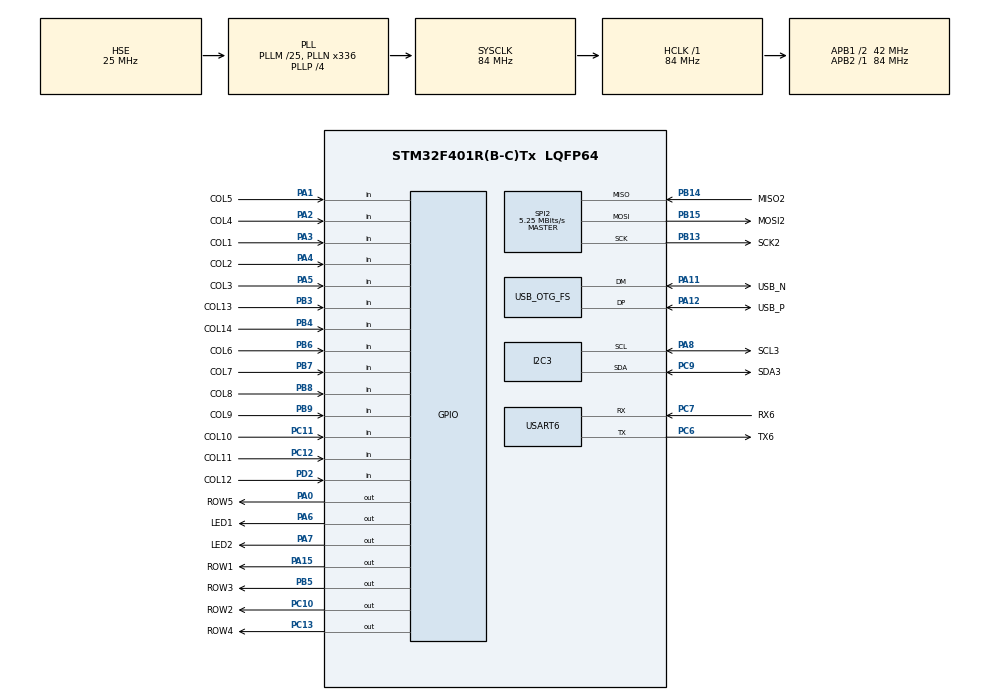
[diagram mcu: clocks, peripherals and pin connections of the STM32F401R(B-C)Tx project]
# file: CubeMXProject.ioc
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ADC1.Channel-0\#ChannelRegularConversion=ADC_CHANNEL_TEMPSENSOR
ADC1.NbrOfConversionFlag=1
ADC1.Rank-0\#ChannelRegularConversion=1
ADC1.SamplingTime-0\#ChannelRegularConversion=ADC_SAMPLETIME_3CYCLES
ADC1.master=1
Dma.Request0=SPI2_TX
Dma.SPI2_TX.0.Direction=DMA_MEMORY_TO_PERIPH
Dma.SPI2_TX.0.FIFOMode=DMA_FIFOMODE_DISABLE
Dma.SPI2_TX.0.Instance=DMA1_Stream4
Dma.SPI2_TX.0.MemDataAlignment=DMA_MDATAALIGN_BYTE
Dma.SPI2_TX.0.MemInc=DMA_MINC_ENABLE
Dma.SPI2_TX.0.Mode=DMA_NORMAL
Dma.SPI2_TX.0.PeriphDataAlignment=DMA_PDATAALIGN_BYTE
Dma.SPI2_TX.0.PeriphInc=DMA_PINC_DISABLE
Dma.SPI2_TX.0.Priority=DMA_PRIORITY_LOW
FREERTOS.Tasks01=defaultTask,24,128,StartDefaultTask,Default,NULL,Dynamic,NULL,NULL
Mcu.Family=STM32F4
Mcu.Name=STM32F401R(B-C)Tx
Mcu.Package=LQFP64
NVIC.DMA1_Stream4_IRQn=true\:5\:0\:false\:false\:true\:true\:false\:true\:true
NVIC.OTG_FS_IRQn=true\:5\:0\:false\:false\:true\:true\:false\:true\:true
NVIC.PriorityGroup=NVIC_PRIORITYGROUP_4
NVIC.TIM1_UP_TIM10_IRQn=true\:15\:0\:false\:false\:true\:false\:false\:true\:true
NVIC.TimeBase=TIM1_UP_TIM10_IRQn
NVIC.TimeBaseIP=TIM1
PA0-WKUP.GPIO_Label=ROW5
PA0-WKUP.GPIO_Speed=GPIO_SPEED_FREQ_VERY_HIGH
PA0-WKUP.PinState=GPIO_PIN_SET
PA0-WKUP.Signal=GPIO_Output
PA1.GPIO_Label=COL5
PA1.GPIO_PuPd=GPIO_PULLUP
PA1.Signal=GPIO_Input
PA11.GPIO_Label=USB_N
PA11.Mode=Device_Only
PA11.Signal=USB_OTG_FS_DM
PA12.GPIO_Label=USB_P
PA12.Mode=Device_Only
PA12.Signal=USB_OTG_FS_DP
PA13.GPIO_Label=SWDIO
PA13.Mode=Serial_Wire
PA13.Signal=SYS_JTMS-SWDIO
PA14.GPIO_Label=SWDCLK
PA14.Mode=Serial_Wire
PA14.Signal=SYS_JTCK-SWCLK
PA15.GPIO_Label=ROW1
PA15.GPIO_ModeDefaultOutputPP=GPIO_MODE_OUTPUT_PP
PA15.GPIO_PuPd=GPIO_NOPULL
PA15.GPIO_Speed=GPIO_SPEED_FREQ_VERY_HIGH
PA15.PinState=GPIO_PIN_SET
PA15.Signal=GPIO_Output
PA2.GPIO_Label=COL4
PA2.GPIO_PuPd=GPIO_PULLUP
PA2.Signal=GPIO_Input
PA3.GPIO_Label=COL1
PA3.GPIO_PuPd=GPIO_PULLUP
PA3.Signal=GPIO_Input
PA4.GPIO_Label=COL2
PA4.GPIO_PuPd=GPIO_PULLUP
PA4.Signal=GPIO_Input
PA5.GPIO_Label=COL3
PA5.GPIO_PuPd=GPIO_PULLUP
PA5.Signal=GPIO_Input
PA6.GPIO_Label=LED1
PA6.GPIO_ModeDefaultOutputPP=GPIO_MODE_OUTPUT_OD
PA6.GPIO_PuPd=GPIO_PULLUP
PA6.GPIO_Speed=GPIO_SPEED_FREQ_LOW
PA6.PinState=GPIO_PIN_SET
PA6.Signal=GPIO_Output
PA7.GPIO_Label=LED2
PA7.GPIO_ModeDefaultOutputPP=GPIO_MODE_OUTPUT_OD
PA7.GPIO_PuPd=GPIO_PULLUP
PA7.GPIO_Speed=GPIO_SPEED_FREQ_LOW
PA7.PinState=GPIO_PIN_SET
PA7.Signal=GPIO_Output
PA8.GPIO_Label=SCL3
PA8.Mode=I2C
PA8.Signal=I2C3_SCL
PB13.GPIO_Label=SCK2
PB13.Mode=Full_Duplex_Master
PB13.Signal=SPI2_SCK
PB14.GPIO_Label=MISO2
PB14.Mode=Full_Duplex_Master
PB14.Signal=SPI2_MISO
PB15.GPIO_Label=MOSI2
PB15.Mode=Full_Duplex_Master
PB15.Signal=SPI2_MOSI
PB3.GPIO_Label=COL13
PB3.GPIO_PuPd=GPIO_PULLUP
PB3.Signal=GPIO_Input
PB4.GPIO_Label=COL14
PB4.GPIO_PuPd=GPIO_PULLUP
PB4.Signal=GPIO_Input
PB5.GPIO_Label=ROW3
PB5.GPIO_PuPd=GPIO_NOPULL
PB5.GPIO_Speed=GPIO_SPEED_FREQ_VERY_HIGH
PB5.PinState=GPIO_PIN_SET
PB5.Signal=GPIO_Output
PB6.GPIO_Label=COL6
PB6.GPIO_PuPd=GPIO_PULLUP
PB6.Signal=GPIO_Input
PB7.GPIO_Label=COL7
PB7.GPIO_PuPd=GPIO_PULLUP
PB7.Signal=GPIO_Input
PB8.GPIO_Label=COL8
PB8.GPIO_PuPd=GPIO_PULLUP
PB8.Signal=GPIO_Input
PB9.GPIO_Label=COL9
PB9.GPIO_PuPd=GPIO_PULLUP
PB9.Signal=GPIO_Input
PC10.GPIO_Label=ROW2
PC10.GPIO_ModeDefaultOutputPP=GPIO_MODE_OUTPUT_PP
PC10.GPIO_PuPd=GPIO_PULLUP
PC10.GPIO_Speed=GPIO_SPEED_FREQ_VERY_HIGH
PC10.PinState=GPIO_PIN_SET
PC10.Signal=GPIO_Output
PC11.GPIO_Label=COL10
PC11.GPIO_PuPd=GPIO_PULLUP
PC11.Signal=GPIO_Input
PC12.GPIO_Label=COL11
PC12.GPIO_PuPd=GPIO_PULLUP
PC12.Signal=GPIO_Input
PC13-ANTI_TAMP.GPIO_Label=ROW4
PC13-ANTI_TAMP.GPIO_ModeDefaultOutputPP=GPIO_MODE_OUTPUT_PP
PC13-ANTI_TAMP.GPIO_PuPd=GPIO_PULLUP
PC13-ANTI_TAMP.GPIO_Speed=GPIO_SPEED_FREQ_LOW
PC13-ANTI_TAMP.PinState=GPIO_PIN_SET
PC13-ANTI_TAMP.Signal=GPIO_Output
PC6.GPIO_Label=TX6
PC6.Mode=Asynchronous
PC6.Signal=USART6_TX
PC7.GPIO_Label=RX6
PC7.Mode=Asynchronous
PC7.Signal=USART6_RX
PC9.GPIO_Label=SDA3
PC9.Mode=I2C
PC9.Signal=I2C3_SDA
PD2.GPIO_Label=COL12
PD2.GPIO_PuPd=GPIO_PULLUP
PD2.Signal=GPIO_Input
PH0\ -\ OSC_IN.Mode=HSE-External-Oscillator
PH0\ -\ OSC_IN.Signal=RCC_OSC_IN
PH1\ -\ OSC_OUT.Mode=HSE-External-Oscillator
PH1\ -\ OSC_OUT.Signal=RCC_OSC_OUT
ProjectManager.HeapSize=0x200
ProjectManager.StackSize=0x400
ProjectManager.TargetToolchain=MDK-ARM V5.32
RCC.48MHZClocksFreq_Value=48000000
RCC.AHBFreq_Value=84000000
RCC.APB1CLKDivider=RCC_HCLK_DIV2
RCC.APB1Freq_Value=42000000
RCC.APB1TimFreq_Value=84000000
RCC.APB2Freq_Value=84000000
RCC.APB2TimFreq_Value=84000000
RCC.CortexFreq_Value=84000000
RCC.HCLKFreq_Value=84000000
RCC.HSE_VALUE=25000000
RCC.HSI_VALUE=16000000
RCC.LSE_VALUE=32768
RCC.PLLM=25
RCC.PLLN=336
RCC.PLLP=RCC_PLLP_DIV4
RCC.PLLQ=7
RCC.SYSCLKFreq_VALUE=84000000
RCC.SYSCLKSource=RCC_SYSCLKSOURCE_PLLCLK
RCC.VCOOutputFreq_Value=336000000
SPI2.BaudRatePrescaler=SPI_BAUDRATEPRESCALER_8
SPI2.CLKPhase=SPI_PHASE_2EDGE
SPI2.CLKPolarity=SPI_POLARITY_HIGH
SPI2.CalculateBaudRate=5.25 MBits/s
SPI2.DataSize=SPI_DATASIZE_8BIT
SPI2.Direction=SPI_DIRECTION_2LINES
SPI2.Mode=SPI_MODE_MASTER
SPI2.TIMode=SPI_TIMODE_DISABLE
SPI2.VirtualType=VM_MASTER
USART6.VirtualMode=VM_ASYNC
USB_DEVICE.CLASS_NAME_FS=CUSTOM_HID
USB_DEVICE.VirtualMode=CustomHid
USB_DEVICE.VirtualModeFS=Custom_Hid_FS
USB_OTG_FS.VirtualMode=Device_Only
VP_ADC1_TempSens_Input.Mode=IN-TempSens
VP_CRC_VS_CRC.Mode=CRC_Activate
VP_FREERTOS_VS_CMSIS_V2.Mode=CMSIS_V2
VP_SYS_VS_tim1.Mode=TIM1
VP_USB_DEVICE_VS_USB_DEVICE_CUSTOM_HID_FS.Mode=CUSTOM_HID_FS
board=custom

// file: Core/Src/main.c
/* USER CODE BEGIN Header */
/**
  ******************************************************************************
  * @file           : main.c
  * @brief          : Main program body
  ******************************************************************************
  * @attention
  *
  * Copyright (c) 2023 STMicroelectronics.
  * All rights reserved.
  *
  * This software is licensed under terms that can be found in the LICENSE file
  * in the root directory of this software component.
  * If no LICENSE file comes with this software, it is provided AS-IS.
  *
  ******************************************************************************
  */
/* USER CODE END Header */
#include "main.h"
#include "cmsis_os.h"
#include "adc.h"
#include "crc.h"
#include "dma.h"
#include "i2c.h"
#include "spi.h"
#include "usart.h"
#include "usb_device.h"
#include "gpio.h"

void SystemClock_Config(void);
void MX_FREERTOS_Init(void);

int main(void)
{

  /* MCU Configuration--------------------------------------------------------*/

  /* Reset of all peripherals, Initializes the Flash interface and the Systick. */
  HAL_Init();

  /* Configure the system clock */
  SystemClock_Config();

  /* Initialize all configured peripherals */
  MX_GPIO_Init();
  MX_DMA_Init();
  MX_ADC1_Init();
  MX_CRC_Init();
  MX_I2C3_Init();
  MX_SPI2_Init();
  MX_USART6_UART_Init();

  /* Init scheduler */
  osKernelInitialize();  /* Call init function for freertos objects (in freertos.c) */
  MX_FREERTOS_Init();

  /* Start scheduler */
  osKernelStart();

  /* We should never get here as control is now taken by the scheduler */
  /* Infinite loop */
  while (1)
  {

  }
}

void SystemClock_Config(void)
{
  RCC_OscInitTypeDef RCC_OscInitStruct = {0};
  RCC_ClkInitTypeDef RCC_ClkInitStruct = {0};

  /** Configure the main internal regulator output voltage
  */
  __HAL_RCC_PWR_CLK_ENABLE();
  __HAL_PWR_VOLTAGESCALING_CONFIG(PWR_REGULATOR_VOLTAGE_SCALE2);

  /** Initializes the RCC Oscillators according to the specified parameters
  * in the RCC_OscInitTypeDef structure.
  */
  RCC_OscInitStruct.OscillatorType = RCC_OSCILLATORTYPE_HSE;
  RCC_OscInitStruct.HSEState = RCC_HSE_ON;
  RCC_OscInitStruct.PLL.PLLState = RCC_PLL_ON;
  RCC_OscInitStruct.PLL.PLLSource = RCC_PLLSOURCE_HSE;
  RCC_OscInitStruct.PLL.PLLM = 25;
  RCC_OscInitStruct.PLL.PLLN = 336;
  RCC_OscInitStruct.PLL.PLLP = RCC_PLLP_DIV4;
  RCC_OscInitStruct.PLL.PLLQ = 7;
  if (HAL_RCC_OscConfig(&RCC_OscInitStruct) != HAL_OK)
  {
    Error_Handler();
  }

  /** Initializes the CPU, AHB and APB buses clocks
  */
  RCC_ClkInitStruct.ClockType = RCC_CLOCKTYPE_HCLK|RCC_CLOCKTYPE_SYSCLK
                              |RCC_CLOCKTYPE_PCLK1|RCC_CLOCKTYPE_PCLK2;
  RCC_ClkInitStruct.SYSCLKSource = RCC_SYSCLKSOURCE_PLLCLK;
  RCC_ClkInitStruct.AHBCLKDivider = RCC_SYSCLK_DIV1;
  RCC_ClkInitStruct.APB1CLKDivider = RCC_HCLK_DIV2;
  RCC_ClkInitStruct.APB2CLKDivider = RCC_HCLK_DIV1;

  if (HAL_RCC_ClockConfig(&RCC_ClkInitStruct, FLASH_LATENCY_2) != HAL_OK)
  {
    Error_Handler();
  }
}

void HAL_TIM_PeriodElapsedCallback(TIM_HandleTypeDef *htim)
{
  if (htim->Instance == TIM1) {
    HAL_IncTick();
  }
}

void Error_Handler(void)
{
  __disable_irq();
  while (1)
  {
  }
}

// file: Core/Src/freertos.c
/* USER CODE BEGIN Header */
/**
  ******************************************************************************
  * File Name          : freertos.c
  * Description        : Code for freertos applications
  ******************************************************************************
  * @attention
  *
  * Copyright (c) 2023 STMicroelectronics.
  * All rights reserved.
  *
  * This software is licensed under terms that can be found in the LICENSE file
  * in the root directory of this software component.
  * If no LICENSE file comes with this software, it is provided AS-IS.
  *
  ******************************************************************************
  */
/* USER CODE END Header */

#include "FreeRTOS.h"
#include "task.h"
#include "main.h"
#include "cmsis_os.h"

/* USER CODE BEGIN Includes */
#include "KeyScan.h"
#include "KeyValue.h"
#include "Layout.h"
#include "usbd_customhid.h"
#include "usb_device.h"
/* USER CODE END Includes */

/* USER CODE BEGIN Variables */
extern USBD_HandleTypeDef hUsbDeviceFS;

static uint8_t KeyHidReport[KeyHidReportLen] = {0};

osThreadId_t LED_TaskHandle;
const osThreadAttr_t LED_Task_attributes = {
  .name = "Led_Task",
  .stack_size = 64*4,
  .priority = (osPriority_t) osPriorityLow7,
};

osThreadId_t KeyScan_TaskHandle;
const osThreadAttr_t KeyScan_Task_attributes = {
  .name = "KeyScan_Task",
  //! .stack_size = 768*4,
  .stack_size = 128*4,
  .priority = (osPriority_t) osPriorityAboveNormal1,
};

/* USER CODE END Variables */
/* Definitions for defaultTask */
osThreadId_t USBHidTaskHandle;
const osThreadAttr_t USBHidTask_attributes = {
  .name = "USBHidTaskTask",
  .stack_size = 128 * 4,
  .priority = (osPriority_t) osPriorityHigh,
};

/* USER CODE BEGIN FunctionPrototypes */

void Start_KeyScan_Task(void *argument);
void Start_LED_Task(void *argument);

/* USER CODE END FunctionPrototypes */

void StartUSBHidTask(void *argument);

extern void MX_USB_DEVICE_Init(void);
void MX_FREERTOS_Init(void); /* (MISRA C 2004 rule 8.1) */

void MX_FREERTOS_Init(void) {

  /* Create the thread(s) */
  /* creation of defaultTask */
  USBHidTaskHandle = osThreadNew(StartUSBHidTask, NULL, &USBHidTask_attributes);

  /* USER CODE BEGIN RTOS_THREADS */
  LED_TaskHandle = osThreadNew(Start_LED_Task, NULL, &LED_Task_attributes);
  KeyScan_TaskHandle = osThreadNew(Start_KeyScan_Task, NULL, &KeyScan_Task_attributes);
  /* add threads, ... */
  /* USER CODE END RTOS_THREADS */

}

void StartUSBHidTask(void *argument)
{
  static uint8_t KeyHidReportFull[KeyHidReportLen+1] = {0};
  static TickType_t lasttick;

  lasttick = xTaskGetTickCount();
  /* init code for USB_DEVICE */
  MX_USB_DEVICE_Init();
  KeyHidReportFull[0] = 0x01;
  /* USER CODE BEGIN StartDefaultTask */
  /* Infinite loop */
  for(;;)
  {
    // SingleScan(KeyHidReport);
    vTaskDelayUntil(&lasttick, 0x01U); // 每 1ms 发送一次数据
    memcpy(&KeyHidReportFull[1], KeyHidReport, KeyHidReportLen);
    USBD_CUSTOM_HID_SendReport(&hUsbDeviceFS, KeyHidReportFull, KeyHidReportLen+1);
  }
  /* USER CODE END StartDefaultTask */
}

/* USER CODE BEGIN Application */

/**
  * @brief  Function implementing the LED_Task thread.
  * @param  argument: Not used
  * @retval None
  */
/* USER CODE END Header_StartDefaultTask */
void Start_LED_Task(void *argument)
{
  /* USER CODE BEGIN Start_LED_Task */
  HAL_GPIO_WritePin(LED1_GPIO_Port,LED1_Pin, GPIO_PIN_RESET);
  /* Infinite loop */
  for(;;)
  {
    HAL_GPIO_TogglePin(LED1_GPIO_Port,LED1_Pin);
    //HAL_GPIO_TogglePin(LED2_GPIO_Port,LED2_Pin);
    osDelay((uint32_t)LED2_Blink_Int);
    //! osDelay(LED2_Blink_Idle);
    //! osDelay(1000);
  }
  /* USER CODE END Start_LED_Task */
}

/**
  * @brief  Function implementing the LED_Task thread.
  * @param  argument: Not used
  * @retval None
  */
/* USER CODE END Header_StartDefaultTask */
void Start_KeyScan_Task(void *argument)
{
  /* USER CODE BEGIN Start_KeyScan_Task */
  static TickType_t lasttick;
  static uint8_t ScanCount = 0;

  lasttick = xTaskGetTickCount();
  //HAL_GPIO_WritePin(LED1_GPIO_Port,LED1_Pin, GPIO_PIN_RESET);
  /* Infinite loop */
  for(;;)
  {
    vTaskDelayUntil(&lasttick, 0x01U); // 每 1ms 扫描n次

    /* 重复扫描 ScanCountPerms 次 */
    for ( ScanCount = 0; ScanCount < ScanCountPerms; ScanCount++)
    {
      SingleScan(KeyHidReport);// 扫描一次大约 1/10 ms
    }
    // SingleScan(KeyHidReport);
  }
  /* USER CODE END Start_KeyScan_Task */
}

/* USER CODE END Application */
